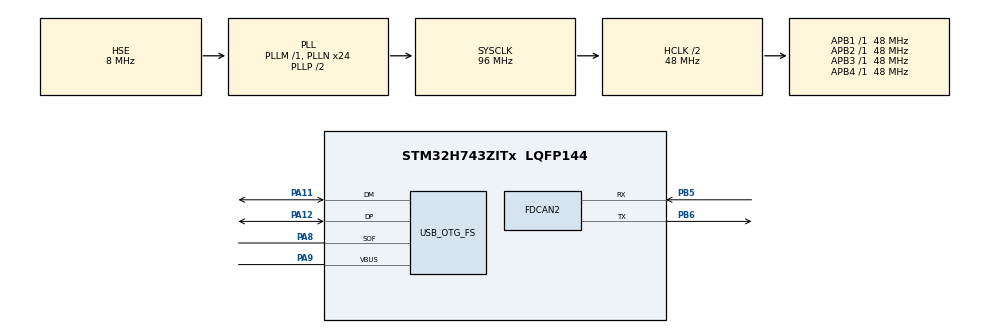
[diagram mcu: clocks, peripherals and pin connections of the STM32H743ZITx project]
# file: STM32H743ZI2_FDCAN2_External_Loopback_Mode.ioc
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FDCAN2.AutoRetransmission=ENABLE
FDCAN2.DataPrescaler=2
FDCAN2.DataSyncJumpWidth=12
FDCAN2.DataTimeSeg1=12
FDCAN2.DataTimeSeg2=12
FDCAN2.FrameFormat=FDCAN_FRAME_FD_BRS
FDCAN2.Mode=FDCAN_MODE_EXTERNAL_LOOPBACK
FDCAN2.NominalPrescaler=1
FDCAN2.NominalSyncJumpWidth=13
FDCAN2.NominalTimeSeg1=86
FDCAN2.NominalTimeSeg2=13
FDCAN2.RxBufferSize=FDCAN_DATA_BYTES_12
FDCAN2.RxBuffersNbr=1
FDCAN2.StdFiltersNbr=1
FDCAN2.TxBuffersNbr=1
FDCAN2.TxElmtSize=FDCAN_DATA_BYTES_12
Mcu.Family=STM32H7
Mcu.Name=STM32H743ZITx
Mcu.Package=LQFP144
NVIC.OTG_FS_IRQn=true\:0\:0\:false\:false\:true\:false\:true\:true
NVIC.PriorityGroup=NVIC_PRIORITYGROUP_4
PA11.Mode=Device_Only
PA11.Signal=USB_OTG_FS_DM
PA12.Mode=Device_Only
PA12.Signal=USB_OTG_FS_DP
PA8.Mode=Activate_SOF_FS
PA8.Signal=USB_OTG_FS_SOF
PA9.Mode=Activate_VBUS
PA9.Signal=USB_OTG_FS_VBUS
PB5.Mode=FDCAN_Activate
PB5.Signal=FDCAN2_RX
PB6.Mode=FDCAN_Activate
PB6.Signal=FDCAN2_TX
PH0-OSC_IN\ (PH0).Mode=HSE-External-Oscillator
PH0-OSC_IN\ (PH0).Signal=RCC_OSC_IN
PH1-OSC_OUT\ (PH1).Mode=HSE-External-Oscillator
PH1-OSC_OUT\ (PH1).Signal=RCC_OSC_OUT
ProjectManager.HeapSize=0x200
ProjectManager.StackSize=0x400
ProjectManager.TargetToolchain=STM32CubeIDE
RCC.ADCFreq_Value=16125000
RCC.APB1Freq_Value=48000000
RCC.APB2Freq_Value=48000000
RCC.APB3Freq_Value=48000000
RCC.APB4Freq_Value=48000000
RCC.CortexFreq_Value=96000000
RCC.DIVM1=1
RCC.DIVN1=24
RCC.DIVQ1=4
RCC.HCLKFreq_Value=48000000
RCC.HPRE=RCC_HCLK_DIV2
RCC.HSE_VALUE=8000000
RCC.PLL2FRACN=0
RCC.PLL3FRACN=0
RCC.PLLFRACN=0
RCC.SYSCLKFreq_VALUE=96000000
RCC.SYSCLKSource=RCC_SYSCLKSOURCE_PLLCLK
RCC.USBFreq_Value=48000000
USB_DEVICE.CLASS_NAME_FS=CDC
USB_DEVICE.VirtualMode-CDC_FS=Cdc
USB_DEVICE.VirtualModeFS=Cdc_FS
USB_OTG_FS.VirtualMode=Device_Only
VP_USB_DEVICE_VS_USB_DEVICE_CDC_FS.Mode=CDC_FS
board=custom

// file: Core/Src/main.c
/* USER CODE BEGIN Header */
/**
  ******************************************************************************
  * @file           : main.c
  * @brief          : Main program body
  ******************************************************************************
  * @attention
  *
  * <h2><center>&copy; Copyright (c) 2021 STMicroelectronics.
  * All rights reserved.</center></h2>
  *
  * This software component is licensed by ST under BSD 3-Clause license,
  * the "License"; You may not use this file except in compliance with the
  * License. You may obtain a copy of the License at:
  *                        opensource.org/licenses/BSD-3-Clause
  *
  ******************************************************************************
  */
/* USER CODE END Header */
#include "main.h"
#include "usb_device.h"

/* USER CODE BEGIN PTD */
FDCAN_FilterTypeDef sFilterConfig;
FDCAN_TxHeaderTypeDef TxHeader;
FDCAN_RxHeaderTypeDef RxHeader;
uint8_t TxData[] = {0x10, 0x32, 0x54, 0x76, 0x98, 0x00, 0x11, 0x22, 0x33, 0x44, 0x55, 0x66};
uint8_t RxData[12];

typedef struct
{
	uint8_t task50Hz;
	uint8_t task20Hz;
	uint8_t task10Hz;
	uint8_t task5Hz;
	uint8_t task1Hz;
	uint8_t task2Hz;
	uint32_t systemTime;
}Scheduler;
Scheduler schedule;

/* USER CODE END PTD */

FDCAN_HandleTypeDef hfdcan2;

void SystemClock_Config(void);
static void MX_GPIO_Init(void);
static void MX_FDCAN2_Init(void);

int main(void)
{
  /* USER CODE BEGIN 1 */
	sFilterConfig.IdType = FDCAN_STANDARD_ID;
	  sFilterConfig.FilterIndex = 0;
	  sFilterConfig.FilterType = FDCAN_FILTER_DUAL;
	  sFilterConfig.FilterConfig = FDCAN_FILTER_TO_RXBUFFER;
	  sFilterConfig.FilterID1 = 0x111;
	  sFilterConfig.FilterID2 = 0x0; // This parameter is ignored if FilterConfig is set to FDCAN_FILTER_TO_RXBUFFER.
	  sFilterConfig.RxBufferIndex = 0;
	  HAL_FDCAN_ConfigFilter(&hfdcan2, &sFilterConfig);

	    /* Configure Tx buffer message */
	  TxHeader.Identifier = 0x111;
	  TxHeader.IdType = FDCAN_STANDARD_ID;
	  TxHeader.TxFrameType = FDCAN_DATA_FRAME;
	  TxHeader.DataLength = FDCAN_DLC_BYTES_12;
	  TxHeader.ErrorStateIndicator = FDCAN_ESI_ACTIVE;
	  TxHeader.BitRateSwitch = FDCAN_BRS_ON;
	  TxHeader.FDFormat = FDCAN_FD_CAN;
	  TxHeader.TxEventFifoControl = FDCAN_NO_TX_EVENTS;
	  TxHeader.MessageMarker = 0x00; // Ignore because FDCAN_NO_TX_EVENTS
	  HAL_FDCAN_AddMessageToTxBuffer(&hfdcan2, &TxHeader, TxData, FDCAN_TX_BUFFER0);

	  /* Start the FDCAN module */
	  HAL_FDCAN_Start(&hfdcan2);

	  /* Send Tx buffer message */
	  HAL_FDCAN_EnableTxBufferRequest(&hfdcan2, FDCAN_TX_BUFFER0);

	  /* Polling for transmission complete */
	  while(HAL_FDCAN_IsTxBufferMessagePending(&hfdcan2, FDCAN_TX_BUFFER0));

	    /* Retrieve message from Rx buffer 0 */
	  HAL_FDCAN_GetRxMessage(&hfdcan2, FDCAN_RX_BUFFER0, &RxHeader, RxData);

  /* USER CODE END 1 */

  /* MCU Configuration--------------------------------------------------------*/

  /* Reset of all peripherals, Initializes the Flash interface and the Systick. */
  HAL_Init();

  /* Configure the system clock */
  SystemClock_Config();

  /* Initialize all configured peripherals */
  MX_GPIO_Init();
  MX_FDCAN2_Init();
  MX_USB_DEVICE_Init();
  /* USER CODE BEGIN 2 */

  /* Configure standard ID reception filter to Rx buffer 0 */
  sFilterConfig.IdType = FDCAN_STANDARD_ID;
  sFilterConfig.FilterIndex = 0;
  sFilterConfig.FilterType = FDCAN_FILTER_DUAL;
  sFilterConfig.FilterConfig = FDCAN_FILTER_TO_RXBUFFER;
  sFilterConfig.FilterID1 = 0x111;
  sFilterConfig.FilterID2 = 0x0; // This parameter is ignored if FilterConfig is set to FDCAN_FILTER_TO_RXBUFFER.
  sFilterConfig.RxBufferIndex = 0;
  HAL_FDCAN_ConfigFilter(&hfdcan2, &sFilterConfig);

    /* Configure Tx buffer message */
  TxHeader.Identifier = 0x111;
  TxHeader.IdType = FDCAN_STANDARD_ID;
  TxHeader.TxFrameType = FDCAN_DATA_FRAME;
  TxHeader.DataLength = FDCAN_DLC_BYTES_12;
  TxHeader.ErrorStateIndicator = FDCAN_ESI_ACTIVE;
  TxHeader.BitRateSwitch = FDCAN_BRS_ON;
  TxHeader.FDFormat = FDCAN_FD_CAN;
  TxHeader.TxEventFifoControl = FDCAN_NO_TX_EVENTS;
  TxHeader.MessageMarker = 0x00; // Ignore because FDCAN_NO_TX_EVENTS
  HAL_FDCAN_AddMessageToTxBuffer(&hfdcan2, &TxHeader, TxData, FDCAN_TX_BUFFER0);

  /* Start the FDCAN module */
  HAL_FDCAN_Start(&hfdcan2);

  /* Send Tx buffer message */
  HAL_FDCAN_EnableTxBufferRequest(&hfdcan2, FDCAN_TX_BUFFER0);

  /* Polling for transmission complete */
  while(HAL_FDCAN_IsTxBufferMessagePending(&hfdcan2, FDCAN_TX_BUFFER0));

    /* Retrieve message from Rx buffer 0 */
  HAL_FDCAN_GetRxMessage(&hfdcan2, FDCAN_RX_BUFFER0, &RxHeader, RxData);

  /* USER CODE END 2 */

  /* Infinite loop */
  while (1)
  {

    /* USER CODE BEGIN 3 */
	  if(schedule.task1Hz)
	  {
		  CDC_Transmit_FS((uint8_t*)"some data",sizeof("some data"));

		  HAL_FDCAN_AddMessageToTxBuffer(&hfdcan2, &TxHeader, TxData, FDCAN_TX_BUFFER0);

		  /* Send Tx buffer message */
		  HAL_FDCAN_EnableTxBufferRequest(&hfdcan2, FDCAN_TX_BUFFER0);

		  /* Polling for transmission complete */
		  while(HAL_FDCAN_IsTxBufferMessagePending(&hfdcan2, FDCAN_TX_BUFFER0));

		    /* Retrieve message from Rx buffer 0 */
		  HAL_FDCAN_GetRxMessage(&hfdcan2, FDCAN_RX_BUFFER0, &RxHeader, RxData);

		  schedule.task1Hz = 0;
	  }
  }
  /* USER CODE END 3 */
}

void SystemClock_Config(void)
{
  RCC_OscInitTypeDef RCC_OscInitStruct = {0};
  RCC_ClkInitTypeDef RCC_ClkInitStruct = {0};

  /** Supply configuration update enable
  */
  HAL_PWREx_ConfigSupply(PWR_LDO_SUPPLY);
  /** Configure the main internal regulator output voltage
  */
  __HAL_PWR_VOLTAGESCALING_CONFIG(PWR_REGULATOR_VOLTAGE_SCALE3);

  while(!__HAL_PWR_GET_FLAG(PWR_FLAG_VOSRDY)) {}
  /** Initializes the RCC Oscillators according to the specified parameters
  * in the RCC_OscInitTypeDef structure.
  */
  RCC_OscInitStruct.OscillatorType = RCC_OSCILLATORTYPE_HSE;
  RCC_OscInitStruct.HSEState = RCC_HSE_ON;
  RCC_OscInitStruct.PLL.PLLState = RCC_PLL_ON;
  RCC_OscInitStruct.PLL.PLLSource = RCC_PLLSOURCE_HSE;
  RCC_OscInitStruct.PLL.PLLM = 1;
  RCC_OscInitStruct.PLL.PLLN = 24;
  RCC_OscInitStruct.PLL.PLLP = 2;
  RCC_OscInitStruct.PLL.PLLQ = 4;
  RCC_OscInitStruct.PLL.PLLR = 2;
  RCC_OscInitStruct.PLL.PLLRGE = RCC_PLL1VCIRANGE_3;
  RCC_OscInitStruct.PLL.PLLVCOSEL = RCC_PLL1VCOWIDE;
  RCC_OscInitStruct.PLL.PLLFRACN = 0;
  if (HAL_RCC_OscConfig(&RCC_OscInitStruct) != HAL_OK)
  {
    Error_Handler();
  }
  /** Initializes the CPU, AHB and APB buses clocks
  */
  RCC_ClkInitStruct.ClockType = RCC_CLOCKTYPE_HCLK|RCC_CLOCKTYPE_SYSCLK
                              |RCC_CLOCKTYPE_PCLK1|RCC_CLOCKTYPE_PCLK2
                              |RCC_CLOCKTYPE_D3PCLK1|RCC_CLOCKTYPE_D1PCLK1;
  RCC_ClkInitStruct.SYSCLKSource = RCC_SYSCLKSOURCE_PLLCLK;
  RCC_ClkInitStruct.SYSCLKDivider = RCC_SYSCLK_DIV1;
  RCC_ClkInitStruct.AHBCLKDivider = RCC_HCLK_DIV2;
  RCC_ClkInitStruct.APB3CLKDivider = RCC_APB3_DIV1;
  RCC_ClkInitStruct.APB1CLKDivider = RCC_APB1_DIV1;
  RCC_ClkInitStruct.APB2CLKDivider = RCC_APB2_DIV1;
  RCC_ClkInitStruct.APB4CLKDivider = RCC_APB4_DIV1;

  if (HAL_RCC_ClockConfig(&RCC_ClkInitStruct, FLASH_LATENCY_1) != HAL_OK)
  {
    Error_Handler();
  }
}

static void MX_FDCAN2_Init(void)
{

  hfdcan2.Instance = FDCAN2;
  hfdcan2.Init.FrameFormat = FDCAN_FRAME_FD_BRS;
  hfdcan2.Init.Mode = FDCAN_MODE_EXTERNAL_LOOPBACK;
  hfdcan2.Init.AutoRetransmission = ENABLE;
  hfdcan2.Init.TransmitPause = DISABLE;
  hfdcan2.Init.ProtocolException = DISABLE;
  hfdcan2.Init.NominalPrescaler = 1;
  hfdcan2.Init.NominalSyncJumpWidth = 13;
  hfdcan2.Init.NominalTimeSeg1 = 86;
  hfdcan2.Init.NominalTimeSeg2 = 13;
  hfdcan2.Init.DataPrescaler = 2;
  hfdcan2.Init.DataSyncJumpWidth = 12;
  hfdcan2.Init.DataTimeSeg1 = 12;
  hfdcan2.Init.DataTimeSeg2 = 12;
  hfdcan2.Init.MessageRAMOffset = 0;
  hfdcan2.Init.StdFiltersNbr = 1;
  hfdcan2.Init.ExtFiltersNbr = 0;
  hfdcan2.Init.RxFifo0ElmtsNbr = 0;
  hfdcan2.Init.RxFifo0ElmtSize = FDCAN_DATA_BYTES_8;
  hfdcan2.Init.RxFifo1ElmtsNbr = 0;
  hfdcan2.Init.RxFifo1ElmtSize = FDCAN_DATA_BYTES_8;
  hfdcan2.Init.RxBuffersNbr = 1;
  hfdcan2.Init.RxBufferSize = FDCAN_DATA_BYTES_12;
  hfdcan2.Init.TxEventsNbr = 0;
  hfdcan2.Init.TxBuffersNbr = 1;
  hfdcan2.Init.TxFifoQueueElmtsNbr = 0;
  hfdcan2.Init.TxFifoQueueMode = FDCAN_TX_FIFO_OPERATION;
  hfdcan2.Init.TxElmtSize = FDCAN_DATA_BYTES_12;
  if (HAL_FDCAN_Init(&hfdcan2) != HAL_OK)
  {
    Error_Handler();
  }

}

static void MX_GPIO_Init(void)
{

  /* GPIO Ports Clock Enable */
  __HAL_RCC_GPIOH_CLK_ENABLE();
  __HAL_RCC_GPIOA_CLK_ENABLE();
  __HAL_RCC_GPIOB_CLK_ENABLE();

}

/* USER CODE BEGIN 4 */
void HAL_SYSTICK_Callback(void)
{
	schedule.systemTime++;

	if(schedule.systemTime % 20 == 0)
		schedule.task50Hz = 1;

	if(schedule.systemTime % 50 == 0)
		schedule.task20Hz = 1;

	if(schedule.systemTime % 100 == 0)
		schedule.task10Hz = 1;

	if(schedule.systemTime % 200 == 0)
		schedule.task5Hz = 1;

	if(schedule.systemTime % 500 == 0)
		schedule.task2Hz = 1;

	if(schedule.systemTime % 1000 == 0)
		schedule.task1Hz = 1;
}
/* USER CODE END 4 */

void Error_Handler(void)
{
  __disable_irq();
  while (1)
  {
  }
}

/************************ (C) COPYRIGHT STMicroelectronics *****END OF FILE****/
